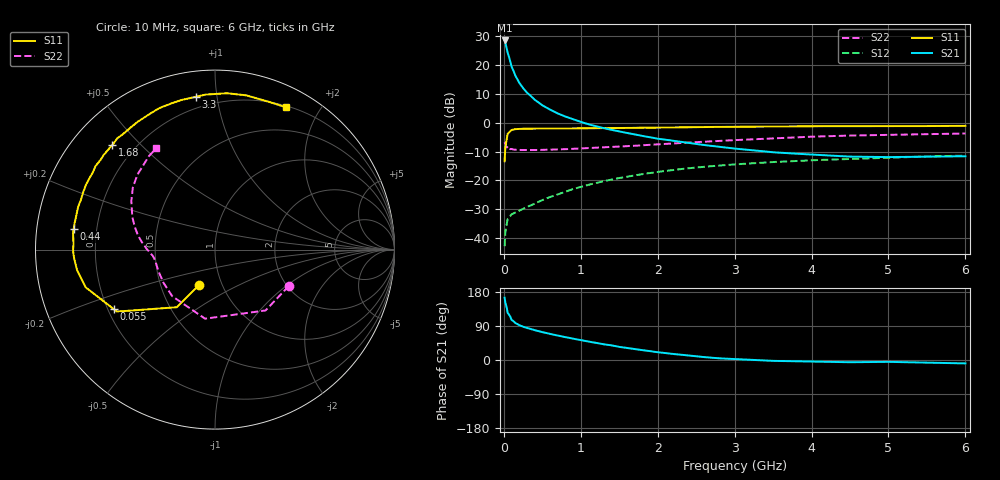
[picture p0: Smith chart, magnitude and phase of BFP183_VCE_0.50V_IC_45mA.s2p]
! Infineon Technologies  Discrete & RF Semiconductors
! BFP183
! VCE = 0.50V,  IC =  45 mA
! Common Emitter S-Parameters:  Jan 2016
# GHz  S  MA  R  50
!  f  S11  S21  S12  S22
! GHz  MAG  ANG  MAG  ANG  MAG  ANG  MAG  ANG
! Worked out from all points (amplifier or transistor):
!   210 points, 10 MHz to 6 GHz, reference 50 ohm
!   highest |S21| = 28.6 dB at 10 MHz (marker M1)
!   |S21| within 3 dB of that: start of sweep to 38.46 MHz
!   unconditionally stable (mu >= 1): start of sweep to 31.71 MHz; 139 MHz to end of sweep
!   at 185 MHz: K = 1.20, MAG = 20.0 dB, |S12| = -30.7 dB
!   at 1.52 GHz: K = 2.08, MAG = 2.1 dB, |S12| = -19.1 dB
!   at 6 GHz: K = 1.48, MAG = -4.2 dB, |S12| = -11.4 dB
!   S11 on the Smith chart (normalised r, x): 10 MHz: 0.78, -0.32; 55 MHz: 0.22, -0.26; 440 MHz: 0.11, +0.07; 1.68 GHz: 0.12, +0.42; 3.3 GHz: 0.14, +0.87; 6 GHz: 0.22, +1.59
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0.01  0.2148 -114.2  26.96 164.4  0.0072 62.0  0.4587 -26.3
0.02  0.385 -123.5  24.62 150.7  0.0127 57.0  0.4407 -50.3
0.05  0.6464 -147.7  16.48 124.0  0.0213 42.0  0.3889 -98.2
0.055  0.6542 -149.5  15.74 122.9  0.0217 40.9  0.3796 -101.2
0.1  0.7503 -163.7  9.502 105.9  0.0257 32.8  0.3524 -132.6
0.15  0.7769 -171.4  6.569 97.4  0.0277 33.2  0.3413 -147.3
0.2  0.786 -176.3  4.966 92.0  0.0297 36.8  0.3375 -155.1
0.26  0.7906 179.9  3.864 87.1  0.0323 39.4  0.3367 -160.6
0.3  0.7889 177.8  3.349 84.4  0.0345 41.5  0.3363 -163.2
0.4  0.7964 173.3  2.522 78.5  0.0393 46.6  0.3364 -167.2
0.44  0.7958 171.7  2.317 76.8  0.0418 47.7  0.3373 -168.3
0.5  0.7959 169.4  2.014 73.5  0.0456 49.1  0.339 -169.9
0.7  0.7989 162.7  1.457 64.5  0.0572 53.3  0.3449 -173.2
1.02  0.8047 152.7  1.017 51.8  0.0783 54.3  0.3596 -176.8
1.3  0.8121 144.9  0.804 41.4  0.0968 53.0  0.3756 -179.7
1.68  0.817 134.4  0.636 29.3  0.1208 49.4  0.3979 176.1
2.02  0.8259 125.5  0.526 20.1  0.1414 45.2  0.4228 171.8
3.1  0.8545 100.9  0.347 1.5  0.1932 30.7  0.5075 155.7
3.3  0.858 97.2  0.327 -0.3  0.2006 28.1  0.5225 152.7
4.1  0.8734 84.2  0.276 -4.4  0.2262 18.4  0.5791 141.4
5.1  0.8748 72.0  0.255 -5.3  0.2494 8.6  0.6214 129.0
6  0.8856 63.5  0.262 -9.0  0.2689 -0.9  0.6524 120.2
